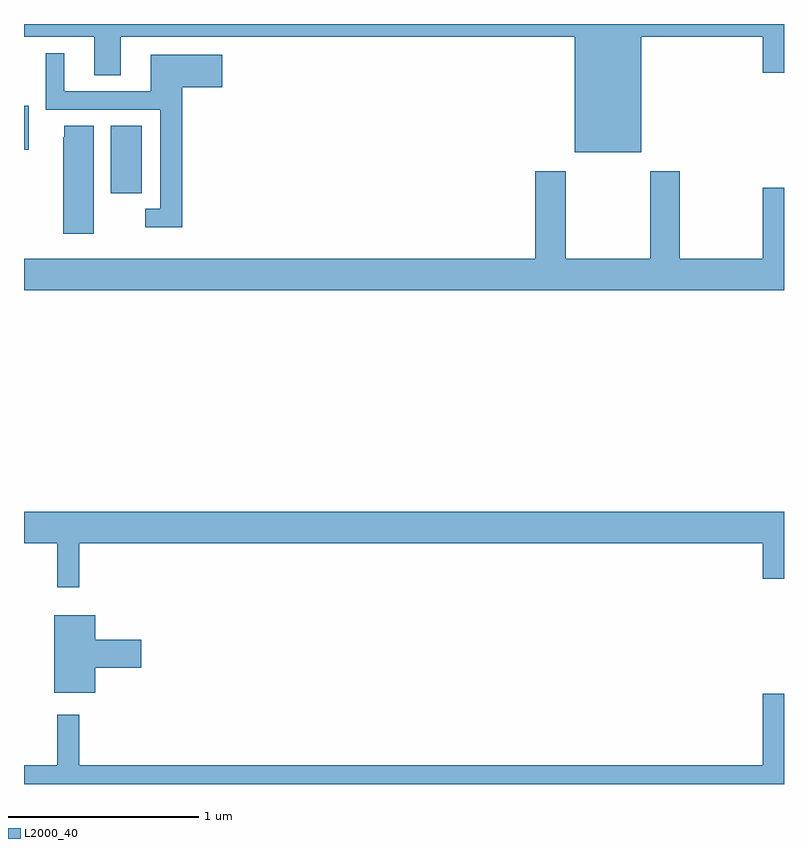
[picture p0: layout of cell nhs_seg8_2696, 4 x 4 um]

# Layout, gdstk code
import gdstk
lib = gdstk.Library(unit=1e-6, precision=1e-09)
def R(c, l, rs):  # rectangles x0, y0, x1, y1
    for r in rs: c.add(gdstk.rectangle(r[:2], r[2:], *l))
def P(c, l, *ps):  # polygons
    for p in ps: c.add(gdstk.Polygon(p, *l))
L2000_40 = (2000, 40)

nhs_seg8_2696 = lib.new_cell('nhs_seg8_2696')
R(nhs_seg8_2696, L2000_40, [(281.456,1117.008,281.62,1117.364), (281,1117.238,281.026,1117.471)])
P(nhs_seg8_2696, L2000_40, [(284.248,1117.832),(284.888,1117.832),(284.888,1117.644),(285,1117.644),(285,1117.9),(281,1117.9),(281,1117.832),(281.369,1117.832),(281.369,1117.63),(281.509,1117.63),(281.509,1117.832),(283.898,1117.832),(283.898,1117.226),(284.248,1117.226)],
  [(281.834,1117.568),(282.043,1117.568),(282.043,1117.738),(281.666,1117.738),(281.666,1117.545),(281.212,1117.545),(281.212,1117.747),(281.114,1117.747),(281.114,1117.449),(281.718,1117.449),(281.718,1116.927),(281.637,1116.927),(281.637,1116.83),(281.834,1116.83)],
  [(281.368,1117.364),(281.213,1117.364),(281.213,1117.305),(281.207,1117.305),(281.207,1116.795),(281.368,1116.795)],
  [(285,1117.039),(284.888,1117.039),(284.888,1116.664),(284.451,1116.664),(284.451,1117.126),(284.296,1117.126),(284.296,1116.664),(283.851,1116.664),(283.851,1117.126),(283.691,1117.126),(283.691,1116.664),(281,1116.664),(281,1116.5),(285,1116.5)],
  [(281.291,1115.168),(284.888,1115.168),(284.888,1114.98),(285,1114.98),(285,1115.332),(281,1115.332),(281,1115.168),(281.174,1115.168),(281.174,1114.935),(281.291,1114.935)],
  [(281.374,1114.511),(281.617,1114.511),(281.617,1114.658),(281.374,1114.658),(281.374,1114.789),(281.159,1114.789),(281.159,1114.379),(281.374,1114.379)],
  [(285,1114.375),(284.888,1114.375),(284.888,1114),(281.291,1114),(281.291,1114.264),(281.174,1114.264),(281.174,1114),(281,1114),(281,1113.9),(285,1113.9)])

lib.write_gds('nhs_seg8_2696.gds')
